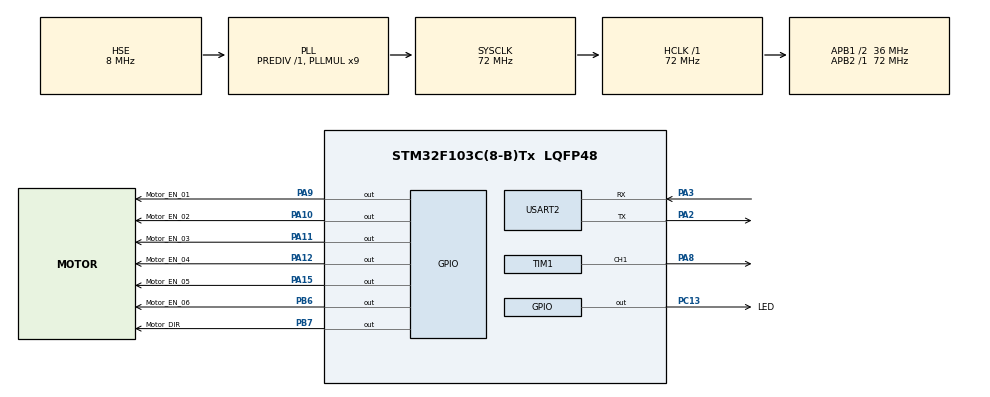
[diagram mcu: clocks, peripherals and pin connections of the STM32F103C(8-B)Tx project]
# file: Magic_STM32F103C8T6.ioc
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Dma.Request0=USART2_RX
Dma.Request1=USART2_TX
Dma.USART2_RX.0.Direction=DMA_PERIPH_TO_MEMORY
Dma.USART2_RX.0.Instance=DMA1_Channel6
Dma.USART2_RX.0.MemDataAlignment=DMA_MDATAALIGN_BYTE
Dma.USART2_RX.0.MemInc=DMA_MINC_ENABLE
Dma.USART2_RX.0.Mode=DMA_NORMAL
Dma.USART2_RX.0.PeriphDataAlignment=DMA_PDATAALIGN_BYTE
Dma.USART2_RX.0.PeriphInc=DMA_PINC_DISABLE
Dma.USART2_RX.0.Priority=DMA_PRIORITY_LOW
Dma.USART2_TX.1.Direction=DMA_MEMORY_TO_PERIPH
Dma.USART2_TX.1.Instance=DMA1_Channel7
Dma.USART2_TX.1.MemDataAlignment=DMA_MDATAALIGN_BYTE
Dma.USART2_TX.1.MemInc=DMA_MINC_ENABLE
Dma.USART2_TX.1.Mode=DMA_NORMAL
Dma.USART2_TX.1.PeriphDataAlignment=DMA_PDATAALIGN_BYTE
Dma.USART2_TX.1.PeriphInc=DMA_PINC_DISABLE
Dma.USART2_TX.1.Priority=DMA_PRIORITY_LOW
FREERTOS.Tasks01=defaultTask,0,128,StartDefaultTask,Default,NULL,Dynamic,NULL,NULL;myTask02,-3,128,StartTask02,Default,NULL,Dynamic,NULL,NULL
Mcu.Family=STM32F1
Mcu.Name=STM32F103C(8-B)Tx
Mcu.Package=LQFP48
NVIC.DMA1_Channel6_IRQn=true\:5\:0\:false\:false\:true\:true\:false\:true
NVIC.DMA1_Channel7_IRQn=true\:5\:0\:false\:false\:true\:true\:false\:true
NVIC.PriorityGroup=NVIC_PRIORITYGROUP_4
NVIC.TIM1_CC_IRQn=true\:5\:0\:false\:false\:true\:true\:true\:true
NVIC.TIM4_IRQn=true\:0\:0\:false\:false\:true\:false\:false\:true
NVIC.TimeBase=TIM4_IRQn
NVIC.TimeBaseIP=TIM4
NVIC.USART2_IRQn=true\:5\:0\:false\:false\:true\:true\:true\:true
PA10.GPIO_Label=Motor_EN_02
PA10.GPIO_PuPd=GPIO_PULLDOWN
PA10.PinState=GPIO_PIN_SET
PA10.Signal=GPIO_Output
PA11.GPIO_Label=Motor_EN_03
PA11.GPIO_PuPd=GPIO_PULLDOWN
PA11.PinState=GPIO_PIN_SET
PA11.Signal=GPIO_Output
PA12.GPIO_Label=Motor_EN_04
PA12.GPIO_PuPd=GPIO_PULLDOWN
PA12.PinState=GPIO_PIN_SET
PA12.Signal=GPIO_Output
PA13.Mode=Serial_Wire
PA13.Signal=SYS_JTMS-SWDIO
PA14.Mode=Serial_Wire
PA14.Signal=SYS_JTCK-SWCLK
PA15.GPIO_Label=Motor_EN_05
PA15.GPIO_PuPd=GPIO_PULLDOWN
PA15.PinState=GPIO_PIN_SET
PA15.Signal=GPIO_Output
PA2.Mode=Asynchronous
PA2.Signal=USART2_TX
PA3.Mode=Asynchronous
PA3.Signal=USART2_RX
PA8.Signal=S_TIM1_CH1
PA9.GPIO_Label=Motor_EN_01
PA9.GPIO_PuPd=GPIO_PULLDOWN
PA9.PinState=GPIO_PIN_SET
PA9.Signal=GPIO_Output
PB6.GPIO_Label=Motor_EN_06
PB6.GPIO_PuPd=GPIO_PULLDOWN
PB6.PinState=GPIO_PIN_SET
PB6.Signal=GPIO_Output
PB7.GPIO_Label=Motor_DIR
PB7.GPIO_PuPd=GPIO_PULLUP
PB7.PinState=GPIO_PIN_SET
PB7.Signal=GPIO_Output
PC13-TAMPER-RTC.GPIO_Label=LED
PC13-TAMPER-RTC.GPIO_PuPd=GPIO_PULLDOWN
PC13-TAMPER-RTC.PinState=GPIO_PIN_SET
PC13-TAMPER-RTC.Signal=GPIO_Output
PD0-OSC_IN.Mode=HSE-External-Oscillator
PD0-OSC_IN.Signal=RCC_OSC_IN
PD1-OSC_OUT.Mode=HSE-External-Oscillator
PD1-OSC_OUT.Signal=RCC_OSC_OUT
ProjectManager.HeapSize=0x200
ProjectManager.StackSize=0x400
ProjectManager.TargetToolchain=MDK-ARM V5
RCC.AHBFreq_Value=72000000
RCC.APB1CLKDivider=RCC_HCLK_DIV2
RCC.APB1Freq_Value=36000000
RCC.APB1TimFreq_Value=72000000
RCC.APB2Freq_Value=72000000
RCC.APB2TimFreq_Value=72000000
RCC.HCLKFreq_Value=72000000
RCC.PLLMUL=RCC_PLL_MUL9
RCC.PLLSourceVirtual=RCC_PLLSOURCE_HSE
RCC.SYSCLKFreq_VALUE=72000000
RCC.SYSCLKSource=RCC_SYSCLKSOURCE_PLLCLK
RCC.USBFreq_Value=72000000
SH.S_TIM1_CH1.0=TIM1_CH1,PWM Generation1 CH1
TIM1.Channel-PWM\ Generation1\ CH1=TIM_CHANNEL_1
TIM1.Period=80
TIM1.Prescaler=71
TIM1.Pulse-PWM\ Generation1\ CH1=40
TIM1.TIM_MasterOutputTrigger=TIM_TRGO_UPDATE
USART2.VirtualMode=VM_ASYNC
VP_FREERTOS_VS_CMSIS_V1.Mode=CMSIS_V1
VP_SYS_VS_tim4.Mode=TIM4
board=custom

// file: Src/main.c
/* USER CODE BEGIN Header */
/**
  ******************************************************************************
  * @file           : main.c
  * @brief          : Main program body
  ******************************************************************************
  * @attention
  *
  * <h2><center>&copy; Copyright (c) 2020 STMicroelectronics.
  * All rights reserved.</center></h2>
  *
  * This software component is licensed by ST under Ultimate Liberty license
  * SLA0044, the "License"; You may not use this file except in compliance with
  * the License. You may obtain a copy of the License at:
  *                             www.st.com/SLA0044
  *
  ******************************************************************************
  */
/* USER CODE END Header */

#include "main.h"
#include "cmsis_os.h"
#include "dma.h"
#include "tim.h"
#include "usart.h"
#include "gpio.h"

/* USER CODE BEGIN Includes */
#include <stdio.h>
/* USER CODE END Includes */

void SystemClock_Config(void);
void MX_FREERTOS_Init(void);

/* USER CODE BEGIN 0 */
int fputc(int ch, FILE *f)
{

HAL_UART_Transmit(&huart2,(uint8_t*)&ch,1,0xFFFF);

while (HAL_UART_GetState(&huart2) == HAL_UART_STATE_RESET);

return ch;
}

void DMA_Usart_Send(uint8_t *buf,uint16_t len)//串口发送封装
{

	//HAL_UART_Transmit(&huart1, buf,len,10);
   if(HAL_UART_Transmit_DMA(&huart2,buf,len)!= HAL_OK)
        {
            Error_Handler();
        }

}
/* USER CODE END 0 */

int main(void)
{

  /* MCU Configuration--------------------------------------------------------*/

  /* Reset of all peripherals, Initializes the Flash interface and the Systick. */
  HAL_Init();

  /* Configure the system clock */
  SystemClock_Config();

  /* Initialize all configured peripherals */
  MX_GPIO_Init();
  MX_DMA_Init();
  MX_TIM1_Init();
  MX_USART2_UART_Init();
  /* USER CODE BEGIN 2 */
  printf("\n===函数Printf函数发送数据===\n");
  /* USER CODE END 2 */

  /* Call init function for freertos objects (in freertos.c) */
  MX_FREERTOS_Init();

  /* Start scheduler */
  osKernelStart();

  /* We should never get here as control is now taken by the scheduler */

  /* Infinite loop */
  while (1)
  {

  }
}

void SystemClock_Config(void)
{
  RCC_OscInitTypeDef RCC_OscInitStruct = {0};
  RCC_ClkInitTypeDef RCC_ClkInitStruct = {0};

  /** Initializes the CPU, AHB and APB busses clocks
  */
  RCC_OscInitStruct.OscillatorType = RCC_OSCILLATORTYPE_HSE;
  RCC_OscInitStruct.HSEState = RCC_HSE_ON;
  RCC_OscInitStruct.HSEPredivValue = RCC_HSE_PREDIV_DIV1;
  RCC_OscInitStruct.HSIState = RCC_HSI_ON;
  RCC_OscInitStruct.PLL.PLLState = RCC_PLL_ON;
  RCC_OscInitStruct.PLL.PLLSource = RCC_PLLSOURCE_HSE;
  RCC_OscInitStruct.PLL.PLLMUL = RCC_PLL_MUL9;
  if (HAL_RCC_OscConfig(&RCC_OscInitStruct) != HAL_OK)
  {
    Error_Handler();
  }
  /** Initializes the CPU, AHB and APB busses clocks
  */
  RCC_ClkInitStruct.ClockType = RCC_CLOCKTYPE_HCLK|RCC_CLOCKTYPE_SYSCLK
                              |RCC_CLOCKTYPE_PCLK1|RCC_CLOCKTYPE_PCLK2;
  RCC_ClkInitStruct.SYSCLKSource = RCC_SYSCLKSOURCE_PLLCLK;
  RCC_ClkInitStruct.AHBCLKDivider = RCC_SYSCLK_DIV1;
  RCC_ClkInitStruct.APB1CLKDivider = RCC_HCLK_DIV2;
  RCC_ClkInitStruct.APB2CLKDivider = RCC_HCLK_DIV1;

  if (HAL_RCC_ClockConfig(&RCC_ClkInitStruct, FLASH_LATENCY_2) != HAL_OK)
  {
    Error_Handler();
  }
}

void HAL_TIM_PeriodElapsedCallback(TIM_HandleTypeDef *htim)
{
  if (htim->Instance == TIM4) {
    HAL_IncTick();
  }
}

void Error_Handler(void)
{
}

/************************ (C) COPYRIGHT STMicroelectronics *****END OF FILE****/

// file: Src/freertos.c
/* USER CODE BEGIN Header */
/**
  ******************************************************************************
  * File Name          : freertos.c
  * Description        : Code for freertos applications
  ******************************************************************************
  * @attention
  *
  * <h2><center>&copy; Copyright (c) 2020 STMicroelectronics.
  * All rights reserved.</center></h2>
  *
  * This software component is licensed by ST under Ultimate Liberty license
  * SLA0044, the "License"; You may not use this file except in compliance with
  * the License. You may obtain a copy of the License at:
  *                             www.st.com/SLA0044
  *
  ******************************************************************************
  */
/* USER CODE END Header */

#include "FreeRTOS.h"
#include "task.h"
#include "main.h"
#include "cmsis_os.h"

/* USER CODE BEGIN Includes */
#include "tim.h"
#include "FACE_Control.h"
#include "hardware.h"
/* USER CODE END Includes */

osThreadId defaultTaskHandle;
osThreadId myTask02Handle;

void StartDefaultTask(void const * argument);
void StartTask02(void const * argument);

void MX_FREERTOS_Init(void); /* (MISRA C 2004 rule 8.1) */

void MX_FREERTOS_Init(void) {

  /* Create the thread(s) */
  /* definition and creation of defaultTask */
  osThreadDef(defaultTask, StartDefaultTask, osPriorityNormal, 0, 128);
  defaultTaskHandle = osThreadCreate(osThread(defaultTask), NULL);

  /* definition and creation of myTask02 */
  osThreadDef(myTask02, StartTask02, osPriorityIdle, 0, 128);
  myTask02Handle = osThreadCreate(osThread(myTask02), NULL);

}

void StartDefaultTask(void const * argument)
{

  for(;;)
  {
    osDelay(1);
  }
}

void StartTask02(void const * argument)
{
  /* USER CODE BEGIN StartTask02 */
	uint8_t index;
	uint16_t pulseCnt;
  /* Infinite loop */
  for(;;)
  {
		HAL_GPIO_TogglePin(GPIOC,GPIO_PIN_13);
		//Mgk_Ctrl_Face_Output(0);

		index++;
		if(index>6)
		{
			index=0;
		}
		Mgk_Ctrl_Face_Output(index);
		delay_us(100);
		for(pulseCnt=0;pulseCnt<1600;pulseCnt++)
		{
				Mgk_Ctrl_Fulse_Output(1);
			delay_us(6);
					Mgk_Ctrl_Fulse_Output(0);
			delay_us(6);
		}

//		delay_us(20);
//	  if((index!=0))
//		{
//			Mgk_PWM_Complete=false;
//			HAL_TIM_PWM_Start(&htim1,TIM_CHANNEL_1);
//		}

    osDelay(1000);
  }
  /* USER CODE END StartTask02 */
}

/************************ (C) COPYRIGHT STMicroelectronics *****END OF FILE****/
